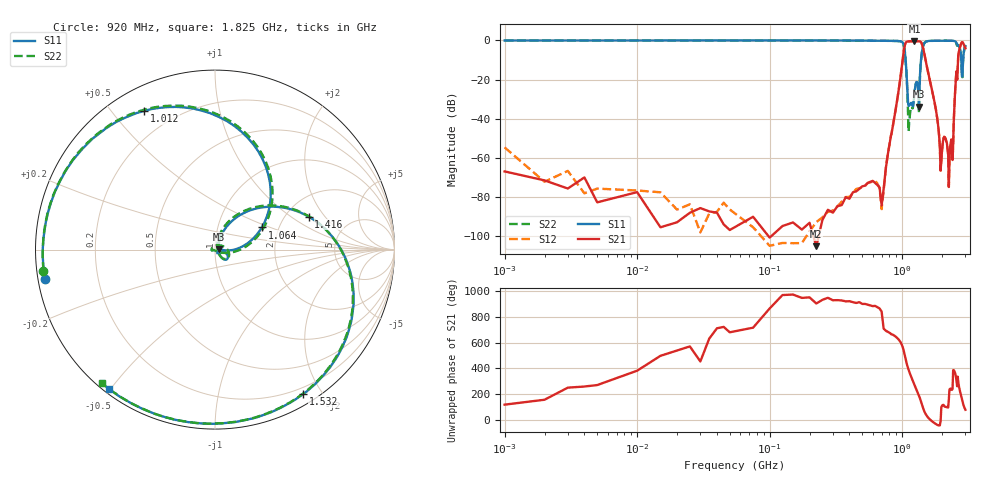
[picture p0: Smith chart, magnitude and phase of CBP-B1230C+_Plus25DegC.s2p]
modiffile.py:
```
import numpy as np
import os
import sys
cwd = os.getcwd()
utilspath = cwd + '/../../../script/utils/'
sys.path.append(utilspath)
import utils

################################################
### change board filter constructor data  ######
################################################
boardfiltername = 'CBP-B1230C+_Plus25DegC.s2p'
databoardfilter = utils.readminicircuitdata(boardfiltername)
newnboardfiltername = 'boardfilterconst.txt' 
utils.writeintwocolumns(databoardfilter,newnboardfiltername)


#################################################
### change bias T filter constructor data  ######
#################################################
biasTfilterdata = 'HFCN-1000+ _AP130157_022513_UNIT-'
filenr = ['1','2','3','4','5']
allfilters = []
onefreq = np.array([])
for nr in filenr:
    filename = biasTfilterdata + nr + '.s2p'
    databiasTfilter = utils.readminicircuitdata(filename)
    freq = databiasTfilter[0]
    filter = databiasTfilter[1]
    onefreq = freq
    allfilters.append(filter)
allfiltersnp = np.ndarray(shape=(len(allfilters),len(allfilters[0])))
counter = 0
for filt in allfilters:
    allfiltersnp[counter] = filt
    counter +=1
meanfilter = np.mean(allfiltersnp,axis=0)
newnbiasTfiltername = 'biasTfilterconst.txt' 
utils.writeintwocolumns([onefreq,meanfilter],newnbiasTfiltername)

#################################################
### change bias T filter Jacques data      ######
#################################################
measdata = utils.getjacquesmeas('scope_42.csv','scope_43.csv')
newnbiasTdata = 'biasTfilterdata.txt' 
#put in MHz
utils.writeintwocolumns([measdata[0]*1000,measdata[1]],newnbiasTdata)
```
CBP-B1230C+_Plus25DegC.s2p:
! Mini-Circuits
! S2P DATA File Format
! Type: BAND PASS FILTER
! Model: CBP-B1230C+
! All S Parameters are in dB deg format
! TEST CONDITIONS: INPUT POWER = 0 dBm @ Temperature = +25deg C
! 453 Frequency points
# MHz S DB R 50
!Frequency  S11 dB  S11 DEG  S21 dB  S21 DEG  S12 dB  S12 DEG  S22 dB  S22 DEG
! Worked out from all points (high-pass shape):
!   453 points, 1 MHz to 3 GHz, reference 50 ohm
!   highest |S21| = -0.44 dB at 1.238 GHz (marker M1); lowest = -105.1 dB at 225 MHz (marker M2)
!   |S21| within 3 dB of the highest: 1.04 GHz to 1.433 GHz (392.7 MHz wide, 31.8 % of centre); 2.733 GHz to 2.972 GHz (239.1 MHz wide, 8.38 % of centre)
!   lowest |S11| = -33.8 dB at 1.338 GHz (marker M3), VSWR 1.04, Z = 52.1 + j0.193 ohm
!   |S11| at or under -10 dB: 1.062 GHz to 1.388 GHz (326.3 MHz wide, 26.6 % of centre); 2.795 GHz to 2.884 GHz (89.28 MHz wide, 3.14 % of centre)
!   |S22| runs from -46.5 to 0.0 dB; largest |S21 - S12| = 0.002
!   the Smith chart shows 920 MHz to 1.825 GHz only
!   S11 on the Smith chart (normalised r, x): 920 MHz: 0.02, -0.09; 1.012 GHz: 0.10, +0.61; 1.064 GHz: 1.63, +0.44; 1.416 GHz: 2.64, +1.40; 1.532 GHz: 0.12, -1.78; 1.825 GHz: 0.02, -0.50
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1  -0.07 -0.1  -66.92 117.8  -54.66 11.5  -0.07 -0.2
75  -0.05 -10.4  -90.07 -3.0  -95.43 -48.4  -0.05 -10.6
225  -0.05 -31.4  -105.09 -174.8  -92.80 -131.9  -0.06 -31.9
920  -0.33 -170.2  -29.89 -84.2  -29.89 -84.2  -0.33 -173.0
1012  -1.23 117.1  -9.14 -157.7  -9.13 -157.7  -1.23 114.9
1064  -10.78 25.3  -1.19 107.3  -1.18 107.3  -10.85 22.7
1238  -26.65 -13.8  -0.44 -87.1  -0.44 -87.2  -26.53 25.0
1338  -33.82 5.2  -0.45 -170.6  -0.45 -170.6  -37.06 6.8
1416  -5.14 19.4  -2.25 112.4  -2.24 112.5  -5.15 19.8
1532  -0.51 -58.6  -12.94 31.4  -12.94 31.3  -0.51 -60.7
1825  -0.21 -127.2  -38.25 -37.8  -38.24 -37.7  -0.21 -130.2
3000  -2.89 166.2  -4.09 78.1  -4.09 78.1  -2.87 163.4
